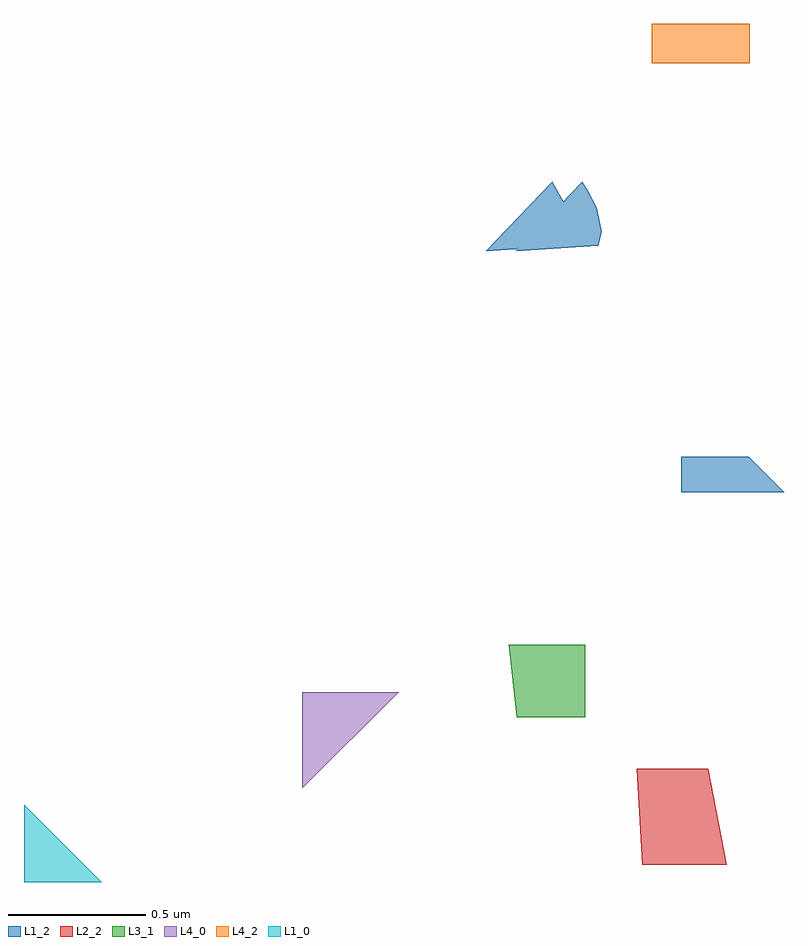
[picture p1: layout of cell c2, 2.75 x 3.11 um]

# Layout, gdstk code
from math import pi, radians
import gdstk
lib = gdstk.Library(unit=1e-6, precision=1e-09)
def R(c, l, rs):  # rectangles x0, y0, x1, y1
    for r in rs: c.add(gdstk.rectangle(r[:2], r[2:], *l))
def P(c, l, *ps):  # polygons
    for p in ps: c.add(gdstk.Polygon(p, *l))
L1_0 = (1, 0)
L1_2 = (1, 2)
L2_2 = (2, 2)
L3_1 = (3, 1)
L4_0 = (4, 0)
L4_2 = (4, 2)

c_c0 = lib.new_cell('c0')
P(c_c0, L1_2, [(-0.686,-0.284),(-0.814,-0.156),(-0.441,-0.156),(-0.441,-0.284)])
P(c_c0, L2_2, [(-0.607,1.195),(-0.301,1.195),(-0.28,0.847),(-0.54,0.847)])
P(c_c0, L3_1, [(-0.093,0.661),(0.155,0.661),(0.183,0.398),(-0.093,0.398)])
P(c_c0, L4_0, [(0.583,0.569),(0.932,0.918),(0.932,0.569)])

c_c2 = lib.new_cell('c2')
P(c_c2, L1_0, [(-1.768,-0.983),(-1.768,-0.702),(-1.487,-0.983)])
P(c_c2, L1_2, [(-0.094,1.303),(0.205,1.324),(0.217,1.374),(0.2,1.461),(0.164,1.527),(0.147,1.555)],
  [(0.015,1.303),(0.314,1.324),(0.326,1.374),(0.309,1.461),(0.273,1.527),(0.256,1.555)])
R(c_c2, L4_2, [(0.508,1.986,0.863,2.128)])
c_c2.add(gdstk.Reference(c_c0, (0.173,0.275), rotation=pi))
c_c2.add(gdstk.Label('lbl2', (1.935,-1.737), layer=2, texttype=2))

lib.write_gds('c2.gds')
